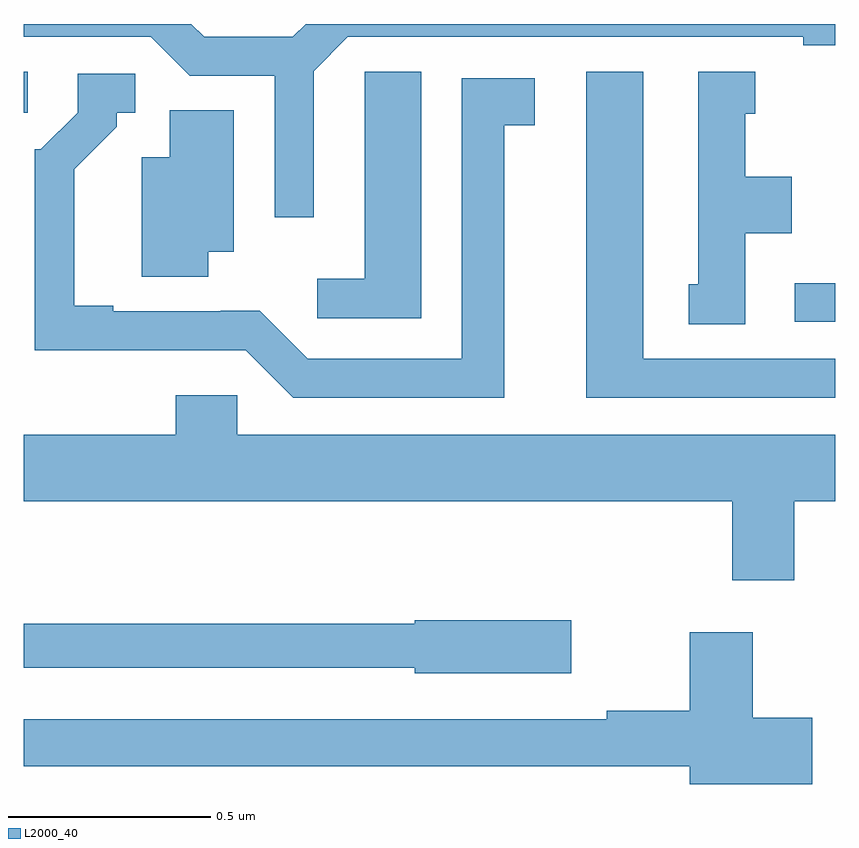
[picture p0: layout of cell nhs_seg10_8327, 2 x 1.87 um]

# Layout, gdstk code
import gdstk
lib = gdstk.Library(unit=1e-6, precision=1e-09)
def R(c, l, rs):  # rectangles x0, y0, x1, y1
    for r in rs: c.add(gdstk.rectangle(r[:2], r[2:], *l))
def P(c, l, *ps):  # polygons
    for p in ps: c.add(gdstk.Polygon(p, *l))
L2000_40 = (2000, 40)

nhs_seg10_8327 = lib.new_cell('nhs_seg10_8327')
R(nhs_seg10_8327, L2000_40, [(216.9,1292.766,217,1292.862), (215,1293.282,215.011,1293.383)])
P(nhs_seg10_8327, L2000_40, [(215.715,1293.384),(215.799,1293.468),(216.92,1293.468),(216.92,1293.448),(217,1293.448),(217,1293.5),(215.695,1293.5),(215.663,1293.468),(215.445,1293.468),(215.413,1293.5),(215,1293.5),(215,1293.468),(215.313,1293.468),(215.409,1293.372),(215.619,1293.372),(215.619,1293.024),(215.715,1293.024)],
  [(215.98,1293.383),(215.841,1293.383),(215.841,1293.275),(215.84,1293.275),(215.84,1292.872),(215.724,1292.872),(215.724,1292.775),(215.98,1292.775)],
  [(217,1292.676),(216.526,1292.676),(216.526,1293.382),(216.386,1293.382),(216.386,1292.58),(217,1292.58)],
  [(216.778,1292.984),(216.892,1292.984),(216.892,1293.124),(216.778,1293.124),(216.778,1293.279),(216.802,1293.279),(216.802,1293.382),(216.662,1293.382),(216.662,1292.859),(216.638,1292.859),(216.638,1292.761),(216.778,1292.761)],
  [(216.184,1293.25),(216.259,1293.25),(216.259,1293.366),(216.08,1293.366),(216.08,1292.676),(215.7,1292.676),(215.582,1292.794),(215.486,1292.794),(215.486,1292.793),(215.221,1292.793),(215.221,1292.806),(215.125,1292.806),(215.125,1293.142),(215.23,1293.247),(215.23,1293.282),(215.275,1293.282),(215.275,1293.378),(215.133,1293.378),(215.133,1293.282),(215.043,1293.192),(215.028,1293.192),(215.028,1292.696),(215.291,1292.696),(215.291,1292.697),(215.547,1292.697),(215.664,1292.58),(216.184,1292.58)],
  [(215.455,1292.939),(215.518,1292.939),(215.518,1293.287),(215.36,1293.287),(215.36,1293.172),(215.291,1293.172),(215.291,1292.878),(215.455,1292.878)],
  [(216.898,1292.324),(217,1292.324),(217,1292.488),(215.526,1292.488),(215.526,1292.586),(215.375,1292.586),(215.375,1292.488),(215,1292.488),(215,1292.324),(216.746,1292.324),(216.746,1292.13),(216.898,1292.13)],
  [(216.349,1292.031),(215.964,1292.031),(215.964,1292.023),(215,1292.023),(215,1291.914),(215.964,1291.914),(215.964,1291.901),(216.349,1291.901)],
  [(216.943,1291.791),(216.796,1291.791),(216.796,1292.002),(216.641,1292.002),(216.641,1291.808),(216.436,1291.808),(216.436,1291.788),(215,1291.788),(215,1291.672),(216.641,1291.672),(216.641,1291.628),(216.943,1291.628)])

lib.write_gds('nhs_seg10_8327.gds')
